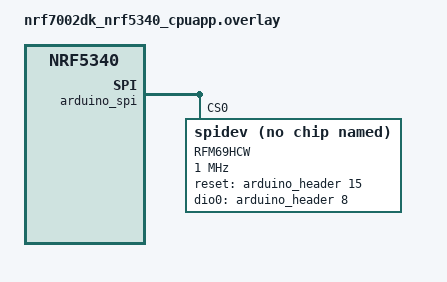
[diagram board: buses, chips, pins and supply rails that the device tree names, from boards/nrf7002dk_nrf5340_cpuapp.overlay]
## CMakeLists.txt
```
#
# Copyright (c) 2020 Nordic Semiconductor
#
# SPDX-License-Identifier: LicenseRef-Nordic-5-Clause
#

cmake_minimum_required(VERSION 3.20.0)

find_package(Zephyr REQUIRED HINTS $ENV{ZEPHYR_BASE})
project(nrf_connect_sdk_intermediate)

# NORDIC SDK APP START
target_sources(app PRIVATE src/main.c)
target_sources(app PRIVATE src/json_payload/json_payload.c)
target_sources(app PRIVATE src/mqtt/mqtt.c)
# target_sources(app PRIVATE src/memfault/memfault_integration.c)
# NORDIC SDK APP END

zephyr_include_directories(src)
zephyr_include_directories(src/json_payload)
zephyr_include_directories(src/mqtt)
zephyr_include_directories(src/memfault)
zephyr_include_directories(config)

# Make folder containing certificates global so that it can be located by the MQTT helper library.
zephyr_include_directories_ifdef(CONFIG_MQTT_HELPER_PROVISION_CERTIFICATES certs)
# Make folder containing private key global so that it can be located by the MCUboot.
zephyr_include_directories_ifdef(CONFIG_BOOT_SIGNATURE_KEY_FILE keys)
```

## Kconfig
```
#
# Copyright (c) 2020 Nordic Semiconductor ASA
#
# SPDX-License-Identifier: LicenseRef-Nordic-5-Clause
#

menu "AWS IoT Sample Settings"

config MISOGATE_APP_VERSION
	string "Application version"
	default "v1.0.0"

config AWS_IOT_JSON_MESSAGE_SIZE_MAX
	int "Maximum size of JSON messages"
	default 200
	help
	  Maximum size of JSON messages that are sent to AWS IoT.

config AWS_IOT_PUBLICATION_INTERVAL_SECONDS
	int "Interval in seconds that the sample will publish data"
	default 60

config AWS_IOT_CONNECTION_RETRY_TIMEOUT_SECONDS
	int "Number of seconds between each AWS IoT connection retry"
	default 30

config MISOGATE_DEVICE_HW_ID
	bool "Use HW ID as device ID"
	select AWS_IOT_CLIENT_ID_APP
	depends on HW_ID_LIBRARY
	help
	  Use the devices's hardware ID as device ID when connecting to AWS IOT

module = MISOGATE
module-str = MISOGATE
source "${ZEPHYR_BASE}/subsys/logging/Kconfig.template.log_config"

config AWS_IOT_SAMPLE_APP_VERSION
	string "Application version"
	default "v1.0.0"

config AWS_IOT_SAMPLE_JSON_MESSAGE_SIZE_MAX
	int "Maximum size of JSON messages"
	default 200
	help
	  Maximum size of JSON messages that are sent to AWS IoT.

config AWS_IOT_SAMPLE_PUBLICATION_INTERVAL_SECONDS
	int "Interval in seconds that the sample will publish data"
	default 60

config AWS_IOT_SAMPLE_CONNECTION_RETRY_TIMEOUT_SECONDS
	int "Number of seconds between each AWS IoT connection retry"
	default 30

config AWS_IOT_SAMPLE_DEVICE_ID_USE_HW_ID
	bool "Use HW ID as device ID"
	select AWS_IOT_CLIENT_ID_APP
	depends on HW_ID_LIBRARY
	help
	  Use the devices's hardware ID as device ID when connecting to AWS IOT

endmenu

menu "Zephyr Kernel"
source "Kconfig.zephyr"
endmenu
```

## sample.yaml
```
sample:
  description: Misogate
  name: Misogate
  
common: 
    sysbuild: true
    build_only: true
    integration_platforms: 
      - nrf7002dk/nrf5340/cpuapp
    platform_exclude:
      - native_sim
    
tests:
  misogate: {}
```

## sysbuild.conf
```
#
# Copyright (c) 2024 Nordic Semiconductor ASA
#
# SPDX-License-Identifier: LicenseRef-Nordic-5-Clause
#

SB_CONFIG_WIFI_NRF70=y

# MCUboot signature configuration
SB_CONFIG_BOOT_SIGNATURE_KEY_FILE="${APP_DIR}/keys/mcuboot_priv.pem"
SB_CONFIG_BOOT_SIGNATURE_TYPE_ECDSA_P256=y
```

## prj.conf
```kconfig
# Misogate
CONFIG_MISOGATE_APP_VERSION="v0.0.1"

# General
CONFIG_LOG=y
CONFIG_LOG_BUFFER_SIZE=2048
CONFIG_HW_ID_LIBRARY=y
CONFIG_ASSERT=n
CONFIG_JSON_LIBRARY=y
CONFIG_REBOOT=y

CONFIG_DEBUG=n
CONFIG_DEBUG_OPTIMIZATIONS=n

# Heap and stacks
CONFIG_HEAP_MEM_POOL_SIZE=32768
CONFIG_MAIN_STACK_SIZE=8192
CONFIG_SYSTEM_WORKQUEUE_STACK_SIZE=4096

# WiFi
CONFIG_WIFI_CREDENTIALS_STATIC=y
CONFIG_WIFI_CREDENTIALS_STATIC_SSID="AirPennNet-Device"
CONFIG_WIFI_CREDENTIALS_STATIC_PASSWORD="penn1740wifi"

# Network
CONFIG_NETWORKING=y
CONFIG_NET_NATIVE=y
CONFIG_NET_IPV4=y
CONFIG_NET_DHCPV4=y
CONFIG_DNS_RESOLVER=y
CONFIG_NET_SOCKETS=y
CONFIG_NET_SOCKETS_SOCKOPT_TLS=y
CONFIG_TLS_CREDENTIALS=y
CONFIG_NET_CONNECTION_MANAGER=y
CONFIG_ZVFS_OPEN_MAX=24 

CONFIG_POSIX_MAX_FDS=15
CONFIG_NET_SOCKETS_TLS_MAX_CONTEXTS=5

# AWS IoT library
CONFIG_AWS_IOT=y
CONFIG_AWS_IOT_BROKER_HOST_NAME="a1nqctvl2kwinw-ats.iot.us-east-2.amazonaws.com"
CONFIG_AWS_IOT_CLIENT_ID_STATIC="misogate"

CONFIG_AWS_IOT_TOPIC_UPDATE_DELTA_SUBSCRIBE=y
CONFIG_AWS_IOT_TOPIC_GET_ACCEPTED_SUBSCRIBE=y
CONFIG_AWS_IOT_TOPIC_GET_REJECTED_SUBSCRIBE=y

CONFIG_AWS_FOTA=y
CONFIG_AWS_FOTA_DOWNLOAD_SECURITY_TAG=201

# MQTT helper library
CONFIG_MQTT_HELPER=y
CONFIG_MQTT_HELPER_SEC_TAG=201
CONFIG_MQTT_HELPER_LAST_WILL=y
CONFIG_MQTT_HELPER_STACK_SIZE=4096

# MQTT
CONFIG_MQTT_KEEPALIVE=1200
CONFIG_MQTT_CLEAN_SESSION=y
```

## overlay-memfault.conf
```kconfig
CONFIG_MEMFAULT=y

# Project key
CONFIG_MEMFAULT_NCS_PROJECT_KEY="x7qXM4RQDbbtYQMmqbFTwXNywgjUF3qx"

# Device identification
CONFIG_MEMFAULT_NCS_DEVICE_ID_RUNTIME=y
CONFIG_MEMFAULT_NCS_HW_VERSION="nrf7002dk"

CONFIG_MEMFAULT_NCS_FW_VERSION_AUTO=y
CONFIG_MEMFAULT_NCS_FW_TYPE="misogate"


CONFIG_MEMFAULT_LOGGING_ENABLE=y
CONFIG_MEMFAULT_LOG_LEVEL_DBG=y

# coredump
CONFIG_MEMFAULT_NCS_INTERNAL_FLASH_BACKED_COREDUMP=y

# metrics
CONFIG_MEMFAULT_METRICS=y
CONFIG_MEMFAULT_NCS_STACK_METRICS=y

# http
CONFIG_MEMFAULT_HTTP_ENABLE=y
CONFIG_MEMFAULT_HTTP_PERIODIC_UPLOAD=y
CONFIG_MEMFAULT_HTTP_PERIODIC_UPLOAD_INTERVAL_SECS=3600

CONFIG_MEMFAULT_ROOT_CERT_STORAGE_TLS_CREDENTIAL_STORAGE=y

CONFIG_MEMFAULT_SHELL=y

CONFIG_MEMFAULT_REBOOT_REASON_GET_CUSTOM=n

# dependencies
CONFIG_POSIX_API=y
CONFIG_REBOOT=y
CONFIG_HWINFO=y

# reduce Memfault footprint
CONFIG_MEMFAULT_SHELL=n
CONFIG_MEMFAULT_LOGGING_ENABLE=n
CONFIG_MEMFAULT_HTTP_PERIODIC_UPLOAD=n

# reduce logging
CONFIG_LOG_MODE_MINIMAL=y
CONFIG_LOG_DEFAULT_LEVEL=1

# optimize size
CONFIG_SIZE_OPTIMIZATIONS=y
CONFIG_SPEED_OPTIMIZATIONS=n
```

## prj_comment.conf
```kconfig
CONFIG_NEWLIB_LIBC=y
CONFIG_POSIX_API=y
CONFIG_WIFI=y
CONFIG_WIFI_NRF70=y


CONFIG_WIFI_CREDENTIALS_STATIC=y
CONFIG_WIFI_CREDENTIALS_STATIC_SSID="Kendrick Karma"
CONFIG_WIFI_CREDENTIALS_STATIC_PASSWORD="00000000"


CONFIG_NETWORKING=y
CONFIG_NET_LOG=y
CONFIG_NET_IPV4=y
CONFIG_NET_UDP=y
CONFIG_NET_TCP=y
CONFIG_NET_DHCPV4=y
CONFIG_NET_CONFIG_SETTINGS=y
CONFIG_NET_CONFIG_INIT_TIMEOUT=0
CONFIG_NET_SOCKETS=y
CONFIG_NET_L2_ETHERNET=y


CONFIG_NET_PKT_RX_COUNT=16
CONFIG_NET_PKT_TX_COUNT=16
CONFIG_NET_BUF_RX_COUNT=16
CONFIG_NET_BUF_TX_COUNT=32
CONFIG_NET_IF_UNICAST_IPV4_ADDR_COUNT=1
CONFIG_NET_MAX_CONTEXTS=5
CONFIG_NET_CONTEXT_SYNC_RECV=y
CONFIG_NET_SOCKETS_POLL_MAX=10
CONFIG_NET_TX_STACK_SIZE=4096
CONFIG_NET_RX_STACK_SIZE=4096
CONFIG_STA_SAMPLE_START_WIFI_THREAD_STACK_SIZE=5200
CONFIG_NET_MGMT_EVENT_QUEUE_TIMEOUT=5000


CONFIG_MQTT_LIB=y
CONFIG_MQTT_KEEPALIVE=60
CONFIG_MQTT_LIB_TLS=n


CONFIG_SPI=y
CONFIG_GPIO=y
CONFIG_ASSERT=y
CONFIG_ENTROPY_GENERATOR=y

CONFIG_LOG=y
CONFIG_LOG_DEFAULT_LEVEL=3
CONFIG_LOG_BUFFER_SIZE=2048
CONFIG_LOG_PRINTK=y
CONFIG_PRINTK=y
CONFIG_LOG_BACKEND_UART=y
CONFIG_SERIAL=y
CONFIG_CONSOLE=y
CONFIG_UART_CONSOLE=y

CONFIG_HEAP_MEM_POOL_SIZE=98304
CONFIG_MAIN_STACK_SIZE=9000
CONFIG_SYS_HEAP_RUNTIME_STATS=y
```

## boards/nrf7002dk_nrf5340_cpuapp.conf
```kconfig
# Wi-Fi
CONFIG_WIFI=y
CONFIG_WIFI_NRF70=y
CONFIG_WIFI_CREDENTIALS=y
CONFIG_FLASH=y
CONFIG_FLASH_PAGE_LAYOUT=y
CONFIG_FLASH_MAP=y

# WPA
CONFIG_WIFI_NM_WPA_SUPPLICANT=y

# NET sockets
CONFIG_NET_L2_ETHERNET=y
CONFIG_NET_UDP=y
CONFIG_NET_TCP=y
CONFIG_NET_SOCKETS_OFFLOAD=n
CONFIG_NET_DHCPV4=y
CONFIG_NET_CONTEXT_SNDTIMEO=y
CONFIG_NET_CONTEXT_RCVTIMEO=y
CONFIG_NET_RX_STACK_SIZE=2048

# DNS
CONFIG_DNS_RESOLVER=y
CONFIG_NET_SOCKETS_DNS_TIMEOUT=30000

# Native network stack
CONFIG_NRF_SECURITY=y
CONFIG_MBEDTLS=y
CONFIG_MBEDTLS_ENABLE_HEAP=y
CONFIG_MBEDTLS_HEAP_SIZE=120000
CONFIG_MBEDTLS_RSA_C=y
CONFIG_MBEDTLS_SSL_SERVER_NAME_INDICATION=y

# NET Sockets
CONFIG_NET_SOCKETS_SOCKOPT_TLS=y
CONFIG_NET_SOCKETS_TLS_MAX_CONTEXTS=4

# Zephyr NET Connection Manager Connectivity layer.
CONFIG_L2_WIFI_CONNECTIVITY=y
CONFIG_L2_WIFI_CONNECTIVITY_AUTO_CONNECT=n
CONFIG_L2_WIFI_CONNECTIVITY_AUTO_DOWN=n

# Serial Peripheral Interface (SPI) - Used to communicate with the mx25r64 external flash memory.
CONFIG_SPI=y
CONFIG_SPI_NOR=y
CONFIG_SPI_NOR_SFDP_DEVICETREE=y
CONFIG_PM_OVERRIDE_EXTERNAL_DRIVER_CHECK=y

# Bootloader and FOTA related configurations

# MCUBOOT
CONFIG_MCUBOOT_IMG_MANAGER=y

# Image manager
CONFIG_IMG_MANAGER=y
CONFIG_STREAM_FLASH=y
CONFIG_IMG_ERASE_PROGRESSIVELY=y

# TLS credentials
CONFIG_TLS_CREDENTIALS_BACKEND_PROTECTED_STORAGE=y

# Optimize TF-M
CONFIG_TFM_PROFILE_TYPE_SMALL=y
CONFIG_PM_PARTITION_SIZE_TFM_SRAM=0xc000
CONFIG_PM_PARTITION_SIZE_TFM=0x1fe00
```

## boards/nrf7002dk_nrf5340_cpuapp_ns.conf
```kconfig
# Copyright (c) 2023 Nordic Semiconductor ASA
#
# SPDX-License-Identifier: LicenseRef-Nordic-5-Clause
#

# Configuration file for nRF7002 DK
# This file is merged with prj.conf in the application folder, and options
# set here will take precedence if they are present in both files.

# General
CONFIG_POSIX_TIMERS=y
CONFIG_SYSTEM_WORKQUEUE_STACK_SIZE=4096
CONFIG_HEAP_MEM_POOL_IGNORE_MIN=n
CONFIG_HW_STACK_PROTECTION=y
CONFIG_HW_ID_LIBRARY_SOURCE_NET_MAC=y
CONFIG_ZVFS_OPEN_MAX=25
CONFIG_MAIN_STACK_SIZE=6144

# Optimize Wi-Fi stack to save some memory
CONFIG_NRF70_RX_NUM_BUFS=16
CONFIG_NRF70_MAX_TX_AGGREGATION=4

# Wi-Fi
CONFIG_WIFI=y
CONFIG_WIFI_NRF70=y
CONFIG_WIFI_CREDENTIALS=y
CONFIG_FLASH=y
CONFIG_FLASH_PAGE_LAYOUT=y
CONFIG_FLASH_MAP=y

# Shell
CONFIG_SHELL=y
CONFIG_SHELL_STACK_SIZE=6144

# WPA
CONFIG_WIFI_NM_WPA_SUPPLICANT=y

# NET sockets
CONFIG_NET_L2_ETHERNET=y
CONFIG_NET_UDP=y
CONFIG_NET_TCP=y
CONFIG_NET_SOCKETS_OFFLOAD=n
CONFIG_NET_DHCPV4=y
CONFIG_NET_CONTEXT_SNDTIMEO=y
CONFIG_NET_CONTEXT_RCVTIMEO=y
CONFIG_NET_RX_STACK_SIZE=2048

# DNS
CONFIG_DNS_RESOLVER=y
CONFIG_NET_SOCKETS_DNS_TIMEOUT=30000

CONFIG_MQTT_HELPER_PROVISION_CERTIFICATES=y

# Native network stack
CONFIG_NRF_SECURITY=y
CONFIG_MBEDTLS=y
CONFIG_MBEDTLS_ENABLE_HEAP=y
CONFIG_MBEDTLS_HEAP_SIZE=90000
CONFIG_MBEDTLS_RSA_C=y
CONFIG_MBEDTLS_SSL_SERVER_NAME_INDICATION=y

# NET Sockets
CONFIG_NET_SOCKETS_SOCKOPT_TLS=y
CONFIG_NET_SOCKETS_TLS_MAX_CONTEXTS=4

# Zephyr NET Connection Manager Connectivity layer.
CONFIG_L2_WIFI_CONNECTIVITY=y
CONFIG_L2_WIFI_CONNECTIVITY_AUTO_CONNECT=n
CONFIG_L2_WIFI_CONNECTIVITY_AUTO_DOWN=n

# Serial Peripheral Interface (SPI) - Used to communicate with the mx25r64 external flash memory.
CONFIG_SPI=y
CONFIG_SPI_NOR=y
CONFIG_SPI_NOR_SFDP_DEVICETREE=y
CONFIG_PM_OVERRIDE_EXTERNAL_DRIVER_CHECK=y

# Bootloader and FOTA related configurations

# MCUBOOT
CONFIG_MCUBOOT_IMG_MANAGER=y

# Image manager
CONFIG_IMG_MANAGER=y
CONFIG_STREAM_FLASH=y
CONFIG_IMG_ERASE_PROGRESSIVELY=y

# TLS credentials
CONFIG_TLS_CREDENTIALS_BACKEND_PROTECTED_STORAGE=y

# Optimize TF-M
CONFIG_TFM_PROFILE_TYPE_SMALL=y
CONFIG_PM_PARTITION_SIZE_TFM_SRAM=0xc000
CONFIG_PM_PARTITION_SIZE_TFM=0x1fe00
```

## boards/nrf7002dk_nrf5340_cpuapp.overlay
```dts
/* nrf7002dk_nrf5340_cpuapp.overlay */
&arduino_spi {
    status = "okay";

    rfm69: rfm69@0 {
        compatible = "spidev";                     
        reg = <0>;
        spi-max-frequency = <1000000>;
        cs-gpios = <&arduino_header 16 GPIO_ACTIVE_LOW>;     /* D10 = CS */
        reset-gpios = <&arduino_header 15 GPIO_ACTIVE_HIGH>; /* D9  = RESET (ACTIVE HIGH) */
        dio0-gpios = <&arduino_header 8 GPIO_ACTIVE_HIGH>;   /* D2  = DIO0 (optional) */
        label = "RFM69HCW";
        status = "okay";
    };
};
```

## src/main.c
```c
#include <hw_id.h>
#include <math.h>
#include <modem/modem_info.h>
#include <net/aws_iot.h>
#include <stdio.h>
#include <stdlib.h>
#include <zephyr/dfu/mcuboot.h>
#include <zephyr/drivers/i2c.h>
#include <zephyr/kernel.h>
#include <zephyr/logging/log.h>
#include <zephyr/logging/log_ctrl.h>
#include <zephyr/net/conn_mgr_connectivity.h>
#include <zephyr/net/conn_mgr_monitor.h>
#include <zephyr/sys/reboot.h>

#if defined(CONFIG_MEMFAULT)
#include <memfault/components.h>
#include <memfault/metrics/metrics.h>
#endif

#include "json_payload.h"
#include "mqtt/mqtt.h"

/* Register log module */
LOG_MODULE_REGISTER(misogate, CONFIG_MISOGATE_LOG_LEVEL);

// MMC5983MA Magnetometer Driver (from magsens)
#define MMC5983MA_ADDR 0x30

/* Register definitions */
#define MMC5983MA_REG_XOUT0 0x00
#define MMC5983MA_REG_XOUT1 0x01
#define MMC5983MA_REG_YOUT0 0x02
#define MMC5983MA_REG_YOUT1 0x03
#define MMC5983MA_REG_ZOUT0 0x04
#define MMC5983MA_REG_ZOUT1 0x05
#define MMC5983MA_REG_XYZOUT2 0x06
#define MMC5983MA_REG_TOUT 0x07
#define MMC5983MA_REG_STATUS 0x08
#define MMC5983MA_REG_CTRL0 0x09
#define MMC5983MA_REG_CTRL1 0x0A
#define MMC5983MA_REG_CTRL2 0x0B
#define MMC5983MA_REG_PRODUCT_ID 0x2F

/* Control register bits */
#define MMC5983MA_CTRL0_TM 0x01       /* Trigger measurement */
#define MMC5983MA_CTRL0_SET 0x08      /* SET operation */
#define MMC5983MA_CTRL0_RESET 0x10    /* RESET operation */
#define MMC5983MA_CTRL1_BW_100HZ 0x00 /* Bandwidth 100Hz */
#define MMC5983MA_CTRL2_CMM_EN 0x10   /* Continuous measurement mode */

/* Conversion constants */
#define MMC5983MA_OFFSET 131072           /* 18-bit midpoint (2^17) */
#define MMC5983MA_LSB_TO_GAUSS 0.0000625f /* 1 LSB = 0.0625 mG = 0.0000625 G   \
                                           */

/* Magnetometer state */
static const struct device *i2c_dev;
static bool mag_sensor_available = false;

static int mmc5983ma_init(void) {
#if !DT_NODE_EXISTS(DT_NODELABEL(i2c1))
  LOG_WRN("I2C1 not configured in devicetree - magnetometer disabled");
  return -ENODEV;
#else
  uint8_t product_id;
  uint8_t reg = MMC5983MA_REG_PRODUCT_ID;
  int ret;

  /* Get I2C device */
  i2c_dev = DEVICE_DT_GET(DT_NODELABEL(i2c1));
  if (!device_is_ready(i2c_dev)) {
    LOG_WRN("I2C device not ready - using simulated magnetometer values");
    return -ENODEV;
  }

  ret = i2c_write_read(i2c_dev, MMC5983MA_ADDR, &reg, 1, &product_id, 1);
  if (ret != 0) {
    LOG_WRN(
        "Failed to read MMC5983MA Product ID (err %d) - using simulated values",
        ret);
    return ret;
  }

  if (product_id != 0x30) {
    LOG_WRN("Invalid MMC5983MA Product ID: 0x%02X (expected 0x30) - using "
            "simulated values",
            product_id);
    return -EIO;
  }

  LOG_INF("MMC5983MA detected, Product ID: 0x%02X", product_id);

  /* Perform SET operation (calibration) */
  uint8_t cmd[2] = {MMC5983MA_REG_CTRL0, MMC5983MA_CTRL0_SET};
  ret = i2c_write(i2c_dev, cmd, 2, MMC5983MA_ADDR);
  if (ret != 0) {
    LOG_WRN("Failed to send SET command (err %d)", ret);
    return ret;
  }
  k_msleep(1);

  /* Configure bandwidth to 100Hz */
  cmd[0] = MMC5983MA_REG_CTRL1;
  cmd[1] = MMC5983MA_CTRL1_BW_100HZ;
  ret = i2c_write(i2c_dev, cmd, 2, MMC5983MA_ADDR);
  if (ret != 0) {
    LOG_WRN("Failed to configure bandwidth (err %d)", ret);
    return ret;
  }

  LOG_INF("MMC5983MA initialized successfully");
  return 0;
#endif
}

// Read magnetometer data from MMC5983MA
static int mmc5983ma_read_mag(float *x_gauss, float *y_gauss, float *z_gauss) {
  uint8_t data[7];
  uint8_t reg = MMC5983MA_REG_XOUT0;
  int ret;
  int32_t x_raw, y_raw, z_raw;

  if (!mag_sensor_available || i2c_dev == NULL) {
    return -ENODEV;
  }

  /* Trigger single measurement */
  uint8_t cmd[2] = {MMC5983MA_REG_CTRL0, MMC5983MA_CTRL0_TM};
  ret = i2c_write(i2c_dev, cmd, 2, MMC5983MA_ADDR);
  if (ret != 0) {
    LOG_ERR("Failed to trigger measurement (err %d)", ret);
    return ret;
  }

  /* Wait for measurement to complete (~8ms) */
  k_msleep(10);

  /* Read 7 bytes: X0, X1, Y0, Y1, Z0, Z1, XYZ2 */
  ret = i2c_write_read(i2c_dev, MMC5983MA_ADDR, &reg, 1, data, 7);
  if (ret != 0) {
    LOG_ERR("Failed to read magnetometer data (err %d)", ret);
    return ret;
  }

  // Combine bytes into 18-bit values
  x_raw = ((uint32_t)data[0] << 10) | ((uint32_t)data[1] << 2) |
          ((data[6] >> 6) & 0x03);
  y_raw = ((uint32_t)data[2] << 10) | ((uint32_t)data[3] << 2) |
          ((data[6] >> 4) & 0x03);
  z_raw = ((uint32_t)data[4] << 10) | ((uint32_t)data[5] << 2) |
          ((data[6] >> 2) & 0x03);

  // Convert to Gauss
  x_raw -= MMC5983MA_OFFSET;
  y_raw -= MMC5983MA_OFFSET;
  z_raw -= MMC5983MA_OFFSET;

  *x_gauss = (float)x_raw * MMC5983MA_LSB_TO_GAUSS;
  *y_gauss = (float)y_raw * MMC5983MA_LSB_TO_GAUSS;
  *z_gauss = (float)z_raw * MMC5983MA_LSB_TO_GAUSS;

  return 0;
}

/* ==================
 * app code
 * ================== */

#define L4_EVENT_MASK (NET_EVENT_L4_CONNECTED | NET_EVENT_L4_DISCONNECTED)
#define CONN_LAYER_EVENT_MASK (NET_EVENT_CONN_IF_FATAL_ERROR)

#define MODEM_FIRMWARE_VERSION_SIZE_MAX 50

#define FATAL_ERROR()                                                          \
  LOG_ERR("Fatal error! Rebooting the device.");                               \
  LOG_PANIC();                                                                 \
  IF_ENABLED(CONFIG_REBOOT, (sys_reboot(0)))

static struct net_mgmt_event_callback l4_cb;
static struct net_mgmt_event_callback conn_cb;

static char hw_id[HW_ID_LEN];

static float default_mag_x = 0.25f;
static float default_mag_y = 0.35f;
static float default_mag_z = 0.45f;

/* Memfault tracking variables */
#if defined(CONFIG_MEMFAULT)
static uint32_t mag_read_success = 0;
static uint32_t mag_read_errors = 0;
static bool wifi_is_connected = false;
static bool mqtt_is_connected = false;
#endif

/* Forward declarations. */
static void shadow_update_work_fn(struct k_work *work);
static void connect_work_fn(struct k_work *work);
static void aws_iot_event_handler(const struct aws_iot_evt *const evt);

static K_WORK_DELAYABLE_DEFINE(shadow_update_work, shadow_update_work_fn);
static K_WORK_DELAYABLE_DEFINE(connect_work, connect_work_fn);

#if defined(CONFIG_MEMFAULT)
// Update Memfault metrics with magnetometer and device state
static void update_memfault_metrics(float mag_x, float mag_y, float mag_z) {
  // Convert float to scaled integers (0.0001 Gauss units = x10000)
  int32_t x_scaled = (int32_t)(mag_x * 10000);
  int32_t y_scaled = (int32_t)(mag_y * 10000);
  int32_t z_scaled = (int32_t)(mag_z * 10000);
  float magnitude = sqrtf(mag_x * mag_x + mag_y * mag_y + mag_z * mag_z);
  uint32_t mag_scaled = (uint32_t)(magnitude * 10000);

  // magetosensor values
  memfault_metrics_heartbeat_set_signed(
      MEMFAULT_METRICS_KEY(mag_x_gauss_x10000), x_scaled);
  memfault_metrics_heartbeat_set_signed(
      MEMFAULT_METRICS_KEY(mag_y_gauss_x10000), y_scaled);
  memfault_metrics_heartbeat_set_signed(
      MEMFAULT_METRICS_KEY(mag_z_gauss_x10000), z_scaled);
  memfault_metrics_heartbeat_set_unsigned(
      MEMFAULT_METRICS_KEY(mag_magnitude_x10000), mag_scaled);

  // device health
  memfault_metrics_heartbeat_set_unsigned(
      MEMFAULT_METRICS_KEY(mag_read_success_count), mag_read_success);
  memfault_metrics_heartbeat_set_unsigned(
      MEMFAULT_METRICS_KEY(mag_read_error_count), mag_read_errors);
  memfault_metrics_heartbeat_set_unsigned(MEMFAULT_METRICS_KEY(wifi_connected),
                                          wifi_is_connected ? 1 : 0);
  memfault_metrics_heartbeat_set_unsigned(MEMFAULT_METRICS_KEY(mqtt_connected),
                                          mqtt_is_connected ? 1 : 0);
  memfault_metrics_heartbeat_set_unsigned(MEMFAULT_METRICS_KEY(uptime_seconds),
                                          (uint32_t)(k_uptime_get() / 1000));

  LOG_INF(
      "Memfault metrics updated: mag=[%d, %d, %d] x10000 Gauss, magnitude=%u",
      x_scaled, y_scaled, z_scaled, mag_scaled);
}
#endif

// read magnetometer data, use defaults if sensor unavailable
static bool read_magnetometer_with_fallback(float *x_gauss, float *y_gauss,
                                            float *z_gauss) {
  int ret;

  if (mag_sensor_available) {
    ret = mmc5983ma_read_mag(x_gauss, y_gauss, z_gauss);
    if (ret == 0) {
#if defined(CONFIG_MEMFAULT)
      mag_read_success++;
#endif
      LOG_DBG("Magnetometer read: X=%.4f, Y=%.4f, Z=%.4f Gauss",
              (double)*x_gauss, (double)*y_gauss, (double)*z_gauss);
      return true;
    }
    LOG_WRN("Magnetometer read failed (err %d), using default values", ret);
#if defined(CONFIG_MEMFAULT)
    mag_read_errors++;
#endif
  }

  *x_gauss = default_mag_x;
  *y_gauss = default_mag_y;
  *z_gauss = default_mag_z;

  default_mag_x += 0.001f;
  default_mag_y -= 0.0005f;
  default_mag_z += 0.0008f;

  if (default_mag_x > 1.0f)
    default_mag_x = -0.9f;
  if (default_mag_y < -1.0f)
    default_mag_y = 0.9f;
  if (default_mag_z > 1.0f)
    default_mag_z = -0.9f;

  LOG_DBG("Using default magnetometer values: X=%.4f, Y=%.4f, Z=%.4f Gauss",
          (double)*x_gauss, (double)*y_gauss, (double)*z_gauss);

  return false;
}

static int aws_iot_client_init(void) {
  int err;

  err = aws_iot_init(aws_iot_event_handler);
  if (err) {
    LOG_ERR("AWS IoT library could not be initialized, error: %d", err);
    FATAL_ERROR();
    return err;
  }

  /* Initialize MQTT application topics */
  err = mqtt_init();
  if (err) {
    LOG_ERR("MQTT initialization failed, error: %d", err);
    FATAL_ERROR();
    return err;
  }

  return 0;
}

static void shadow_update_work_fn(struct k_work *work) {
  int err;
  char message[CONFIG_AWS_IOT_JSON_MESSAGE_SIZE_MAX] = {0};
  struct payload payload = {
      .state.reported.uptime = k_uptime_get(),
      .state.reported.app_version = CONFIG_MISOGATE_APP_VERSION,
  };
  struct aws_iot_data tx_data = {
      .qos = MQTT_QOS_0_AT_MOST_ONCE,
      .topic.type = AWS_IOT_SHADOW_TOPIC_UPDATE,
  };

  err = json_payload_construct(message, sizeof(message), &payload);
  if (err) {
    LOG_ERR("json_payload_construct, error: %d", err);
    FATAL_ERROR();
    return;
  }

  tx_data.ptr = message;
  tx_data.len = strlen(message);

  LOG_INF("Publishing message: %s to AWS IoT shadow", message);

  err = aws_iot_send(&tx_data);
  if (err) {
    LOG_ERR("aws_iot_send, error: %d", err);
#if defined(CONFIG_MEMFAULT)
    /* Record trace event for publish failure */
    MEMFAULT_TRACE_EVENT(aws_publish_failed);
#endif
    FATAL_ERROR();
    return;
  }

#if defined(CONFIG_MEMFAULT)
  /* Read magnetometer */
  float mag_x, mag_y, mag_z;
  bool real_sensor = read_magnetometer_with_fallback(&mag_x, &mag_y, &mag_z);

  /* Calculate magnitude */
  float magnitude = sqrtf(mag_x * mag_x + mag_y * mag_y + mag_z * mag_z);

  LOG_INF("Magnetometer [%s]: X=%.4f, Y=%.4f, Z=%.4f, Mag=%.4f Gauss",
          real_sensor ? "SENSOR" : "DEFAULT", (double)mag_x, (double)mag_y,
          (double)mag_z, (double)magnitude);

  /* Update Memfault with magnetometer data */
  update_memfault_metrics(mag_x, mag_y, mag_z);
#endif

  (void)k_work_reschedule(
      &shadow_update_work,
      K_SECONDS(CONFIG_AWS_IOT_PUBLICATION_INTERVAL_SECONDS));
}

static void connect_work_fn(struct k_work *work) {
  int err;
  const struct aws_iot_config config = {
      .client_id = hw_id,
  };

  LOG_INF("Connecting to AWS IoT");

  err = aws_iot_connect(&config);
  if (err == -EAGAIN) {
    LOG_INF("Connection attempt timed out, "
            "Next connection retry in %d seconds",
            CONFIG_AWS_IOT_CONNECTION_RETRY_TIMEOUT_SECONDS);

    (void)k_work_reschedule(
        &connect_work,
        K_SECONDS(CONFIG_AWS_IOT_CONNECTION_RETRY_TIMEOUT_SECONDS));
  } else if (err) {
    LOG_ERR("aws_iot_connect, error: %d", err);
    FATAL_ERROR();
  }
}

/* Functions that are executed on specific connection-related events. */
static void on_aws_iot_evt_connected(const struct aws_iot_evt *const evt) {
  (void)k_work_cancel_delayable(&connect_work);

  if (evt->data.persistent_session) {
    LOG_WRN("Persistent session is enabled, using subscriptions "
            "from the previous session");
  }

  /* Mark image as working to avoid reverting to the former image after a
   * reboot. */
#if defined(CONFIG_BOOTLOADER_MCUBOOT)
  LOG_INF("Confirming image");
  boot_write_img_confirmed();
#endif

#if defined(CONFIG_MEMFAULT)
  mqtt_is_connected = true;
  LOG_INF("MQTT connected - Memfault tracking updated");
#endif

  /* Start sequential updates to AWS IoT. */
  (void)k_work_reschedule(&shadow_update_work, K_NO_WAIT);
}

static void on_aws_iot_evt_disconnected(void) {
#if defined(CONFIG_MEMFAULT)
  mqtt_is_connected = false;
  LOG_INF("MQTT disconnected - Memfault tracking updated");
#endif

  (void)k_work_cancel_delayable(&shadow_update_work);
  (void)k_work_reschedule(&connect_work, K_SECONDS(5));
}

static void on_aws_iot_evt_fota_done(const struct aws_iot_evt *const evt) {
  int err;

  /* Tear down MQTT connection. */
  (void)aws_iot_disconnect();
  (void)k_work_cancel_delayable(&connect_work);

  /* If modem FOTA has been carried out, the modem needs to be reinitialized.
   * This is carried out by bringing the network interface down/up.
   */
  if (evt->data.image & DFU_TARGET_IMAGE_TYPE_ANY_MODEM) {
    LOG_INF("Modem FOTA done, reinitializing the modem");

    err = conn_mgr_all_if_down(true);
    if (err) {
      LOG_ERR("conn_mgr_all_if_down, error: %d", err);
      FATAL_ERROR();
      return;
    }

    err = conn_mgr_all_if_up(true);
    if (err) {
      LOG_ERR("conn_mgr_all_if_up, error: %d", err);
      FATAL_ERROR();
      return;
    }

    err = conn_mgr_all_if_connect(true);
    if (err) {
      LOG_ERR("conn_mgr_all_if_connect, error: %d", err);
      FATAL_ERROR();
      return;
    }
  } else if (evt->data.image & DFU_TARGET_IMAGE_TYPE_ANY_APPLICATION) {
    LOG_INF("Application FOTA done, rebooting");
    IF_ENABLED(CONFIG_REBOOT, (sys_reboot(0)));
  } else {
    LOG_WRN("Unexpected FOTA image type");
  }
}

static void on_net_event_l4_connected(void) {
#if defined(CONFIG_MEMFAULT)
  wifi_is_connected = true;
  LOG_INF("WiFi connected - Memfault tracking updated");
#endif
  (void)k_work_reschedule(&connect_work, K_SECONDS(5));
}

static void on_net_event_l4_disconnected(void) {
#if defined(CONFIG_MEMFAULT)
  wifi_is_connected = false;
  LOG_INF("WiFi disconnected - Memfault tracking updated");
#endif
  (void)aws_iot_disconnect();
  (void)k_work_cancel_delayable(&connect_work);
  (void)k_work_cancel_delayable(&shadow_update_work);
}

/* Event handlers */

static void aws_iot_event_handler(const struct aws_iot_evt *const evt) {
  switch (evt->type) {
  case AWS_IOT_EVT_CONNECTING:
    LOG_INF("AWS_IOT_EVT_CONNECTING");
    break;
  case AWS_IOT_EVT_CONNECTED:
    LOG_INF("AWS_IOT_EVT_CONNECTED");
    on_aws_iot_evt_connected(evt);
    break;
  case AWS_IOT_EVT_DISCONNECTED:
    LOG_INF("AWS_IOT_EVT_DISCONNECTED");
    on_aws_iot_evt_disconnected();
    break;
  case AWS_IOT_EVT_DATA_RECEIVED:
    LOG_INF("AWS_IOT_EVT_DATA_RECEIVED");
    /* Handle MQTT data received on application topics */
    mqtt_handle_received_data(evt);
    break;
  case AWS_IOT_EVT_PUBACK:
    LOG_INF("AWS_IOT_EVT_PUBACK, message ID: %d", evt->data.message_id);
    break;
  case AWS_IOT_EVT_PINGRESP:
    LOG_INF("AWS_IOT_EVT_PINGRESP");
    break;
  case AWS_IOT_EVT_FOTA_START:
    LOG_INF("AWS_IOT_EVT_FOTA_START");
    break;
  case AWS_IOT_EVT_FOTA_ERASE_PENDING:
    LOG_INF("AWS_IOT_EVT_FOTA_ERASE_PENDING");
    break;
  case AWS_IOT_EVT_FOTA_ERASE_DONE:
    LOG_INF("AWS_FOTA_EVT_ERASE_DONE");
    break;
  case AWS_IOT_EVT_FOTA_DONE:
    LOG_INF("AWS_IOT_EVT_FOTA_DONE");
    on_aws_iot_evt_fota_done(evt);
    break;
  case AWS_IOT_EVT_FOTA_DL_PROGRESS:
    LOG_INF("AWS_IOT_EVT_FOTA_DL_PROGRESS, (%d%%)", evt->data.fota_progress);
    break;
  case AWS_IOT_EVT_ERROR:
    LOG_INF("AWS_IOT_EVT_ERROR, %d", evt->data.err);
    FATAL_ERROR();
    break;
  case AWS_IOT_EVT_FOTA_ERROR:
    LOG_INF("AWS_IOT_EVT_FOTA_ERROR");
    break;
  default:
    LOG_WRN("Unknown AWS IoT event type: %d", evt->type);
    break;
  }
}

static void l4_event_handler(struct net_mgmt_event_callback *cb, uint32_t event,
                             struct net_if *iface) {
  switch (event) {
  case NET_EVENT_L4_CONNECTED:
    LOG_INF("Network connectivity established");
    on_net_event_l4_connected();
    break;
  case NET_EVENT_L4_DISCONNECTED:
    LOG_INF("Network connectivity lost");
    on_net_event_l4_disconnected();
    break;
  default:
    /* Don't care */
    return;
  }
}

static void connectivity_event_handler(struct net_mgmt_event_callback *cb,
                                       uint32_t event, struct net_if *iface) {
  if (event == NET_EVENT_CONN_IF_FATAL_ERROR) {
    LOG_ERR("NET_EVENT_CONN_IF_FATAL_ERROR");
    FATAL_ERROR();
    return;
  }
}

int main(void) {
  int err;

  LOG_INF("==============================================================");
  LOG_INF("~~MagNav~~");
  LOG_INF("Firmware version: %s", CONFIG_MISOGATE_APP_VERSION);
  LOG_INF("==============================================================");

  /* Initialize magnetometer */
  LOG_INF("Initializing MMC5983MA magnetometer...");
  err = mmc5983ma_init();
  if (err == 0) {
    mag_sensor_available = true;
    LOG_INF("MMC5983MA magnetometer: READY");
  } else {
    mag_sensor_available = false;
    LOG_WRN("MMC5983MA magnetometer: NOT AVAILABLE (using default values)");
    LOG_WRN("  Default values: X=%.2f, Y=%.2f, Z=%.2f Gauss",
            (double)default_mag_x, (double)default_mag_y,
            (double)default_mag_z);
  }

  /* Setup handler for Zephyr NET Connection Manager events. */
  net_mgmt_init_event_callback(&l4_cb, l4_event_handler, L4_EVENT_MASK);
  net_mgmt_add_event_callback(&l4_cb);

  /* Setup handler for Zephyr NET Connection Manager Connectivity layer. */
  net_mgmt_init_event_callback(&conn_cb, connectivity_event_handler,
                               CONN_LAYER_EVENT_MASK);
  net_mgmt_add_event_callback(&conn_cb);

  LOG_INF("Bringing network interface up and connecting to the network...");

  err = conn_mgr_all_if_up(true);
  if (err) {
    LOG_ERR("conn_mgr_all_if_up, error: %d", err);
    FATAL_ERROR();
    return err;
  }

  err = conn_mgr_all_if_connect(true);
  if (err) {
    LOG_ERR("conn_mgr_all_if_connect, error: %d", err);
    FATAL_ERROR();
    return err;
  }

  err = aws_iot_client_init();
  if (err) {
    LOG_ERR("aws_iot_client_init, error: %d", err);
    FATAL_ERROR();
    return err;
  }

  return 0;
}
```

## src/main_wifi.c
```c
#include <zephyr/logging/log.h>
LOG_MODULE_REGISTER(sta, LOG_LEVEL_INF);

#include <zephyr/kernel.h>
#include <zephyr/net/net_if.h>
#include <zephyr/net/net_event.h>
#include <zephyr/net/wifi_mgmt.h>
#include <string.h>

#define WIFI_EVENTS ( \
    NET_EVENT_WIFI_SCAN_RESULT    | \
    NET_EVENT_WIFI_SCAN_DONE      | \
    NET_EVENT_WIFI_CONNECT_RESULT | \
    NET_EVENT_WIFI_DISCONNECT_RESULT)

static struct net_mgmt_event_callback wifi_cb;
static struct net_mgmt_event_callback dhcp_cb;

static struct {
    bool scan_done;
    bool ssid_seen_any;
    bool have_24;
    uint16_t ch_24;
    int8_t rssi_24;
    uint8_t bssid_24[WIFI_MAC_ADDR_LEN];
    bool connect_result;
    bool connected;
} ctx;

/* -------- DHCP event handling -------- */
static void print_dhcp_ip(struct net_mgmt_event_callback *cb)
{
    const struct net_if_dhcpv4 *dhcpv4 = cb->info;
    char ip[32];
    net_addr_ntop(AF_INET, &dhcpv4->requested_ip, ip, sizeof ip);
    LOG_INF("DHCP IP address: %s", ip);
}

static void dhcp_event(struct net_mgmt_event_callback *cb,
                       uint32_t evt, struct net_if *iface)
{
    if (evt == NET_EVENT_IPV4_DHCP_BOUND) {
        print_dhcp_ip(cb);
    }
}

/* -------- Wi-Fi event handling -------- */
static void wifi_event(struct net_mgmt_event_callback *cb,
                       uint32_t evt, struct net_if *iface)
{
    switch (evt) {
    case NET_EVENT_WIFI_SCAN_RESULT: {
        const struct wifi_scan_result *r = cb->info;
        if (r->ssid_length &&
            strncmp(r->ssid, CONFIG_WIFI_CREDENTIALS_STATIC_SSID, r->ssid_length) == 0) {
            ctx.ssid_seen_any = true;

            /* Prefer best 2.4 GHz BSS (channels 1..14) */
            if (r->channel >= 1 && r->channel <= 14) {
                if (!ctx.have_24 || r->rssi > ctx.rssi_24) {
                    ctx.have_24 = true;
                    ctx.ch_24 = r->channel;
                    ctx.rssi_24 = r->rssi;
                    memcpy(ctx.bssid_24, r->mac, WIFI_MAC_ADDR_LEN);
                }
            }
            LOG_INF("Found SSID '%s' RSSI %d ch %u sec %u",
                    r->ssid, r->rssi, r->channel, r->security);
        }
        break;
    }
    case NET_EVENT_WIFI_SCAN_DONE:
        ctx.scan_done = true;
        LOG_INF("Scan done");
        break;

    case NET_EVENT_WIFI_CONNECT_RESULT: {
        const struct wifi_status *st = cb->info;
        if (st->status) {
            LOG_ERR("Connection failed (%d)", st->status);
        } else {
            LOG_INF("Connected to WiFi");
            ctx.connected = true;
        }
        ctx.connect_result = true;
        break;
    }

    case NET_EVENT_WIFI_DISCONNECT_RESULT: {
        const struct wifi_status *st = cb->info;
        LOG_INF("Disconnected (%d)", st->status);
        ctx.connected = false;
        break;
    }

    default:
        break;
    }
}

/* -------- Helpers -------- */
static int request_scan(struct net_if *iface)
{
    int rc = net_mgmt(NET_REQUEST_WIFI_SCAN, iface, NULL, 0);
    if (rc) {
        LOG_ERR("Scan request failed (%d)", rc);
    } else {
        LOG_INF("Scan requested");
    }
    return rc;
}

static int connect_wpa2_psk(struct net_if *iface,
                            const uint8_t *bssid, uint16_t channel)
{
    struct wifi_connect_req_params cnx = {
        .ssid        = CONFIG_WIFI_CREDENTIALS_STATIC_SSID,
        .ssid_length = strlen(CONFIG_WIFI_CREDENTIALS_STATIC_SSID),
        .psk         = CONFIG_WIFI_CREDENTIALS_STATIC_PASSWORD,
        .psk_length  = strlen(CONFIG_WIFI_CREDENTIALS_STATIC_PASSWORD),
        .security    = WIFI_SECURITY_TYPE_PSK,   /* WPA2-PSK */
        .channel     = WIFI_CHANNEL_ANY,
    };

    /* Lock to a known-good 2.4 GHz BSSID + channel if we have them */
    if (channel >= 1 && channel <= 14) {
        cnx.channel = channel;
#ifdef WIFI_CONNECT_REQ_PARAMS_HAS_BSSID   /* guard if your headers differ */
        memcpy(cnx.bssid, bssid, WIFI_MAC_ADDR_LEN);
        cnx.bssid_set = true;
#endif
        LOG_INF("Locking to 2.4 GHz ch %u", channel);
    }

    /* Make PMF/802.11w optional if supported by this SDK */
#ifdef WIFI_MFP_OPTIONAL
    cnx.mfp = WIFI_MFP_OPTIONAL;
#endif

    int rc = net_mgmt(NET_REQUEST_WIFI_CONNECT, iface, &cnx, sizeof(cnx));
    if (rc) {
        LOG_ERR("Connection request failed (%d)", rc);
        return rc;
    }
    LOG_INF("Connection requested");
    return 0;
}

/* -------- App entry -------- */
int main(void)
{
    LOG_INF("Wi-Fi bring-up");

    net_mgmt_init_event_callback(&wifi_cb, wifi_event, WIFI_EVENTS);
    net_mgmt_add_event_callback(&wifi_cb);

    net_mgmt_init_event_callback(&dhcp_cb, dhcp_event, NET_EVENT_IPV4_DHCP_BOUND);
    net_mgmt_add_event_callback(&dhcp_cb);

    struct net_if *iface = net_if_get_first_wifi();
    if (!iface) {
        LOG_ERR("No Wi-Fi interface");
        return 0;
    }

    /* Scan to learn best 2.4 GHz BSSID + channel */
    ctx = (typeof(ctx)){0};
    if (!request_scan(iface)) {
        int waited = 0;
        while (!ctx.scan_done && waited < 10000) {
            k_sleep(K_MSEC(100));
            waited += 100;
        }
        if (!ctx.scan_done) {
            LOG_ERR("Timed out waiting for scan");
        } else if (!ctx.ssid_seen_any) {
            LOG_ERR("Target SSID '%s' not seen", CONFIG_WIFI_CREDENTIALS_STATIC_SSID);
        }
    }

    /* Connect, locked to 2.4 GHz BSSID if available */
    ctx.connect_result = ctx.connected = false;
    (void)connect_wpa2_psk(iface, ctx.have_24 ? ctx.bssid_24 : NULL,
                                  ctx.have_24 ? ctx.ch_24    : 0);

    int waited = 0;
    while (!ctx.connect_result && waited < 25000) {
        k_sleep(K_MSEC(100));
        waited += 100;
        if ((waited % 2000) == 0) {
            LOG_INF("Waiting for connect result... (%d ms)", waited);
        }
    }

    if (!ctx.connect_result) {
        LOG_ERR("Timed out waiting for connect result");
    } else if (ctx.connected) {
        LOG_INF("Wi-Fi connected; waiting for DHCP lease...");
        k_sleep(K_FOREVER);
    } else {
        LOG_ERR("Failed to connect");
    }

    return 0;
}
```

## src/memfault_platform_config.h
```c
#pragma once

/* Use the default heartbeat interval (3600 seconds) or override it */
#define MEMFAULT_METRICS_HEARTBEAT_INTERVAL_SECS 60

/* Define the metrics config file to include our custom metrics */
#define MEMFAULT_METRICS_HEARTBEAT_CONFIG_FILE "memfault_metrics_heartbeat_config.def"
```

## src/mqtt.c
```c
#include "mqtt.h"

#include <zephyr/kernel.h>
#include <zephyr/logging/log.h>
LOG_MODULE_REGISTER(mqtt, CONFIG_LOG_DEFAULT_LEVEL);

#include <zephyr/net/mqtt.h>
#include <zephyr/net/socket.h>
#include <zephyr/net/net_ip.h>
#include <string.h>
#include <errno.h>

static struct mqtt_client client;
static struct sockaddr_storage broker;

/* -------------------- MQTT helper functions -------------------- */
static void broker_init(void)
{
    struct sockaddr_in *broker4 = (struct sockaddr_in *)&broker;
    broker4->sin_family = AF_INET;
    broker4->sin_port = htons(CONFIG_MQTT_BROKER_PORT);

    int ret = inet_pton(AF_INET, CONFIG_MQTT_BROKER_ADDR, &broker4->sin_addr);
    if (ret != 1)
    {
        LOG_ERR("inet_pton failed: %d", ret);
    }

    char addr_str[INET_ADDRSTRLEN];
    inet_ntop(AF_INET, &broker4->sin_addr, addr_str, sizeof(addr_str));
    LOG_INF("Broker configured: %s:%d (parsed to: %s)", CONFIG_MQTT_BROKER_ADDR, CONFIG_MQTT_BROKER_PORT, addr_str);
}

static void mqtt_evt_handler(struct mqtt_client *const c,
                             const struct mqtt_evt *evt)
{
    switch (evt->type)
    {
    case MQTT_EVT_CONNACK:
        if (evt->result == 0)
        {
            LOG_INF("MQTT connected");
            struct mqtt_topic sub_topic = {
                .topic = {
                    .utf8 = (uint8_t *)CONFIG_MQTT_SUB_TOPIC,
                    .size = strlen(CONFIG_MQTT_SUB_TOPIC)},
                .qos = MQTT_QOS_1_AT_LEAST_ONCE};
            struct mqtt_subscription_list subs = {
                .list = &sub_topic,
                .list_count = 1,
                .message_id = 1};
            mqtt_subscribe(c, &subs);
            LOG_INF("Subscribed to %s", CONFIG_MQTT_SUB_TOPIC);
        }
        else
        {
            LOG_ERR("MQTT connect failed (%d)", evt->result);
        }
        break;

    case MQTT_EVT_PUBLISH:
        LOG_INF("Received message on %s", evt->param.publish.message.topic.topic.utf8);
        break;

    case MQTT_EVT_DISCONNECT:
        LOG_INF("MQTT disconnected (%d)", evt->result);
        break;

    default:
        break;
    }
}

/* -------------------- Public API -------------------- */
int mqtt_connect_broker(void)
{
    broker_init();

    mqtt_client_init(&client);
    client.broker = &broker;
    client.evt_cb = mqtt_evt_handler;
    client.client_id.utf8 = (uint8_t *)CONFIG_MQTT_CLIENT_ID;
    client.client_id.size = strlen(CONFIG_MQTT_CLIENT_ID);
    client.password = NULL;
    client.user_name = NULL;
    client.protocol_version = MQTT_VERSION_3_1_1;
    client.transport.type = MQTT_TRANSPORT_NON_SECURE;

    /* Static buffers to prevent heap allocation */
    static uint8_t mqtt_rx_buffer[2048];
    static uint8_t mqtt_tx_buffer[2048];
    client.rx_buf = mqtt_rx_buffer;
    client.rx_buf_size = sizeof(mqtt_rx_buffer);
    client.tx_buf = mqtt_tx_buffer;
    client.tx_buf_size = sizeof(mqtt_tx_buffer);

    LOG_INF("Connecting to MQTT broker...");
    int ret = mqtt_connect(&client);
    if (ret)
    {
        LOG_ERR("MQTT connect failed: %d (errno: %d)", ret, errno);
        return ret;
    }

    LOG_INF("mqtt_connect() succeeded, socket fd: %d", client.transport.tcp.sock);

    /* Set up poll to wait for connection response */
    struct pollfd fds[1];
    fds[0].fd = client.transport.tcp.sock;
    fds[0].events = POLLIN;

    /* Wait for CONNACK with timeout (5 seconds) */
    LOG_INF("Waiting for CONNACK...");
    ret = poll(fds, 1, 5000);
    if (ret < 0)
    {
        LOG_ERR("poll error: %d", errno);
        mqtt_abort(&client);
        return -errno;
    }
    else if (ret == 0)
    {
        LOG_ERR("Connection timeout - no CONNACK received");
        mqtt_abort(&client);
        return -ETIMEDOUT;
    }

    /* Process the CONNACK response */
    ret = mqtt_input(&client);
    if (ret != 0)
    {
        LOG_ERR("mqtt_input failed: %d", ret);
        mqtt_abort(&client);
        return ret;
    }

    LOG_INF("MQTT connection established");
    return 0;
}

int mqtt_publish_message(const char *topic, const char *payload)
{
    struct mqtt_publish_param param;
    param.message.topic.topic.utf8 = (uint8_t *)topic;
    param.message.topic.topic.size = strlen(topic);
    param.message.payload.data = (uint8_t *)payload;
    param.message.payload.len = strlen(payload);
    param.message_id = 1234;
    param.message.topic.qos = MQTT_QOS_0_AT_MOST_ONCE;
    param.dup_flag = 0U;
    param.retain_flag = 0U;

    int ret = mqtt_publish(&client, &param);
    if (ret == 0)
    {
        LOG_INF("Published message to %s", topic);
    }
    else
    {
        LOG_ERR("Failed to publish: %d", ret);
    }

    return ret;
}

int mqtt_run_loop(void)
{
    struct pollfd fds[1];
    fds[0].fd = client.transport.tcp.sock;
    fds[0].events = POLLIN;

    while (1)
    {
        /* Poll for incoming data with 1 second timeout */
        int ret = poll(fds, 1, 1000);
        if (ret > 0)
        {
            /* Data available, process it */
            ret = mqtt_input(&client);
            if (ret != 0)
            {
                LOG_ERR("mqtt_input error: %d", ret);
                return ret;
            }
        }
        else if (ret < 0)
        {
            LOG_ERR("poll error: %d", errno);
            return -errno;
        }

        /* Send keep-alive ping if needed */
        ret = mqtt_live(&client);
        if (ret != 0 && ret != -EAGAIN)
        {
            LOG_ERR("mqtt_live error: %d", ret);
            return ret;
        }

        k_sleep(K_MSEC(100));
    }
}

void mqtt_disconnect_broker(void)
{
    LOG_INF("Disconnecting from MQTT broker");
    mqtt_disconnect(&client, NULL);
}
```

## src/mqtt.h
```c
#ifndef MQTT_H
#define MQTT_H

#include <zephyr/kernel.h>

/**
 * @brief Initialize and connect to MQTT broker
 * @return 0 on success, negative errno on failure
 */
int mqtt_connect_broker(void);

/**
 * @brief Publish a message to a topic
 * @param topic Topic string to publish to
 * @param payload Payload string to publish
 * @return 0 on success, negative errno on failure
 */
int mqtt_publish_message(const char *topic, const char *payload);

/**
 * @brief Main MQTT processing loop
 *
 * This function runs indefinitely and handles:
 * - Polling for incoming MQTT messages
 * - Processing received messages
 * - Sending keep-alive pings
 *
 * @return Does not return normally. Returns negative errno on error.
 */
int mqtt_run_loop(void);

/**
 * @brief Disconnect from MQTT broker
 */
void mqtt_disconnect_broker(void);

#endif /* MQTT_H */
```

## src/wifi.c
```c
#include "wifi.h"

#include <zephyr/logging/log.h>
LOG_MODULE_REGISTER(wifi, CONFIG_LOG_DEFAULT_LEVEL);

#include <zephyr/net/net_if.h>
#include <zephyr/net/wifi_mgmt.h>
#include <zephyr/net/net_event.h>
#include <errno.h>

#define WIFI_MGMT_EVENTS (NET_EVENT_WIFI_CONNECT_RESULT | NET_EVENT_WIFI_DISCONNECT_RESULT)

static struct net_mgmt_event_callback wifi_mgmt_cb;
static struct net_mgmt_event_callback net_mgmt_cb;

static struct
{
    bool connected;
    bool connect_result;
    bool dhcp_bound;
} context;

/* -------------------- Wi-Fi event handling -------------------- */
static void handle_wifi_connect_result(struct net_mgmt_event_callback *cb)
{
    const struct wifi_status *status = (const struct wifi_status *)cb->info;
    if (status->status)
    {
        LOG_ERR("Connection failed (%d)", status->status);
    }
    else
    {
        LOG_INF("Connected to WiFi");
        context.connected = true;
    }
    context.connect_result = true;
}

static void handle_wifi_disconnect_result(struct net_mgmt_event_callback *cb)
{
    const struct wifi_status *status = (const struct wifi_status *)cb->info;
    LOG_INF("Disconnected from WiFi (%d)", status->status);
    context.connected = false;
}

static void wifi_mgmt_event_handler(struct net_mgmt_event_callback *cb,
                                    uint32_t mgmt_event, struct net_if *iface)
{
    switch (mgmt_event)
    {
    case NET_EVENT_WIFI_CONNECT_RESULT:
        handle_wifi_connect_result(cb);
        break;
    case NET_EVENT_WIFI_DISCONNECT_RESULT:
        handle_wifi_disconnect_result(cb);
        break;
    default:
        break;
    }
}

/* -------------------- DHCP event handling -------------------- */
static void print_dhcp_ip(struct net_mgmt_event_callback *cb)
{
    const struct net_if_dhcpv4 *dhcpv4 = cb->info;
    const struct in_addr *addr = &dhcpv4->requested_ip;
    char dhcp_info[64];
    net_addr_ntop(AF_INET, addr, dhcp_info, sizeof(dhcp_info));
    LOG_INF("DHCP IP address: %s", dhcp_info);
}

static void net_mgmt_event_handler(struct net_mgmt_event_callback *cb,
                                   uint32_t mgmt_event, struct net_if *iface)
{
    if (mgmt_event == NET_EVENT_IPV4_DHCP_BOUND)
    {
        print_dhcp_ip(cb);
        context.dhcp_bound = true;
    }
}

/* -------------------- Public API -------------------- */
void wifi_init(void)
{
    net_mgmt_init_event_callback(&wifi_mgmt_cb, wifi_mgmt_event_handler, WIFI_MGMT_EVENTS);
    net_mgmt_add_event_callback(&wifi_mgmt_cb);
    net_mgmt_init_event_callback(&net_mgmt_cb, net_mgmt_event_handler, NET_EVENT_IPV4_DHCP_BOUND);
    net_mgmt_add_event_callback(&net_mgmt_cb);
}

int wifi_connect(void)
{
    struct net_if *iface = net_if_get_first_wifi();
    context.connected = false;
    context.connect_result = false;

    if (net_mgmt(NET_REQUEST_WIFI_CONNECT_STORED, iface, NULL, 0))
    {
        LOG_ERR("Connection request failed");
        return -ENOEXEC;
    }
    LOG_INF("Connection requested");
    return 0;
}

bool wifi_is_connected(void)
{
    return context.connected;
}

bool wifi_is_dhcp_bound(void)
{
    return context.dhcp_bound;
}

int wifi_wait_for_connection(int timeout_ms)
{
    int elapsed = 0;
    const int sleep_interval = 100;

    while (!context.connect_result && elapsed < timeout_ms)
    {
        k_sleep(K_MSEC(sleep_interval));
        elapsed += sleep_interval;
    }

    if (!context.connect_result)
    {
        return -ETIMEDOUT;
    }

    if (!context.connected)
    {
        LOG_ERR("Failed to connect WiFi");
        return -ECONNREFUSED;
    }

    LOG_INF("WiFi connected successfully!");
    return 0;
}

int wifi_wait_for_dhcp(int timeout_ms)
{
    int elapsed = 0;
    const int sleep_interval = 100;

    LOG_INF("Waiting for DHCP...");

    while (!context.dhcp_bound && elapsed < timeout_ms)
    {
        k_sleep(K_MSEC(sleep_interval));
        elapsed += sleep_interval;
    }

    if (!context.dhcp_bound)
    {
        return -ETIMEDOUT;
    }

    LOG_INF("DHCP complete");
    return 0;
}

void wifi_print_mac_address(void)
{
    struct net_if *iface = net_if_get_first_wifi();
    if (iface == NULL)
    {
        LOG_ERR("No WiFi interface found");
        return;
    }

    struct net_linkaddr *link_addr = net_if_get_link_addr(iface);
    if (link_addr == NULL)
    {
        LOG_ERR("No link address found");
        return;
    }

    LOG_INF("WiFi MAC Address: %02x:%02x:%02x:%02x:%02x:%02x",
            link_addr->addr[0], link_addr->addr[1], link_addr->addr[2],
            link_addr->addr[3], link_addr->addr[4], link_addr->addr[5]);
}
```

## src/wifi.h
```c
#ifndef WIFI_H
#define WIFI_H

#include <zephyr/kernel.h>
#include <stdbool.h>

/**
 * @brief Initialize WiFi subsystem and register event callbacks
 */
void wifi_init(void);

/**
 * @brief Connect to WiFi using stored credentials
 * @return 0 on success, negative errno on failure
 */
int wifi_connect(void);

/**
 * @brief Check if WiFi is connected
 * @return true if connected, false otherwise
 */
bool wifi_is_connected(void);

/**
 * @brief Check if DHCP has bound an IP address
 * @return true if DHCP bound, false otherwise
 */
bool wifi_is_dhcp_bound(void);

/**
 * @brief Wait for WiFi connection to complete
 * @param timeout_ms Maximum time to wait in milliseconds
 * @return 0 on success, -ETIMEDOUT on timeout, negative errno on failure
 */
int wifi_wait_for_connection(int timeout_ms);

/**
 * @brief Wait for DHCP to complete
 * @param timeout_ms Maximum time to wait in milliseconds
 * @return 0 on success, -ETIMEDOUT on timeout
 */
int wifi_wait_for_dhcp(int timeout_ms);

/**
 * @brief Print WiFi MAC address
 */
void wifi_print_mac_address(void);

#endif /* WIFI_H */
```
